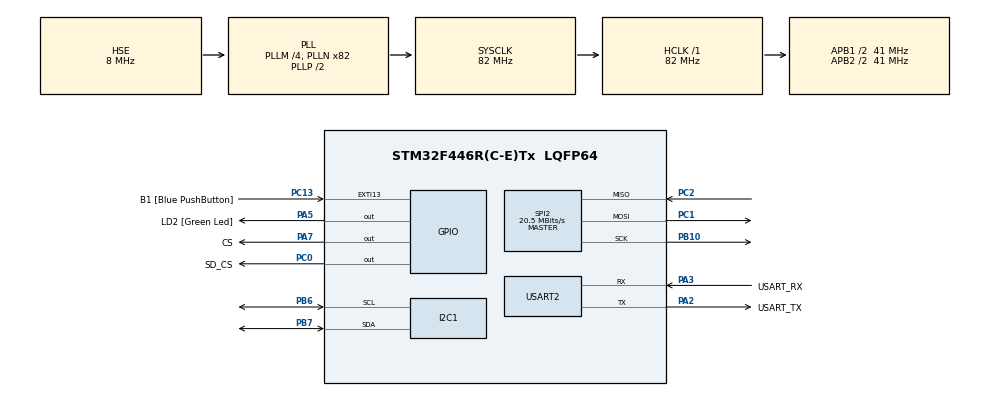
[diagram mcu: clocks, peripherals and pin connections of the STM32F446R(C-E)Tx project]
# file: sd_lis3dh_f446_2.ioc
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Mcu.Family=STM32F4
Mcu.Name=STM32F446R(C-E)Tx
Mcu.Package=LQFP64
NVIC.EXTI15_10_IRQn=true\:0\:0\:false\:false\:true\:true\:true
NVIC.FLASH_IRQn=true\:0\:0\:false\:false\:true\:true\:true
NVIC.PriorityGroup=NVIC_PRIORITYGROUP_0
PA13.GPIO_Label=TMS
PA13.Mode=Serial_Wire
PA13.Signal=SYS_JTMS-SWDIO
PA14.GPIO_Label=TCK
PA14.Mode=Serial_Wire
PA14.Signal=SYS_JTCK-SWCLK
PA2.GPIO_Label=USART_TX
PA2.Mode=Asynchronous
PA2.Signal=USART2_TX
PA3.GPIO_Label=USART_RX
PA3.Mode=Asynchronous
PA3.Signal=USART2_RX
PA5.GPIO_Label=LD2 [Green Led]
PA5.PinState=GPIO_PIN_RESET
PA5.Signal=GPIO_Output
PA7.GPIO_Label=CS
PA7.PinState=GPIO_PIN_SET
PA7.Signal=GPIO_Output
PB10.Mode=Full_Duplex_Master
PB10.Signal=SPI2_SCK
PB3.GPIO_Label=SWO
PB3.Signal=SYS_JTDO-SWO
PB6.Mode=I2C
PB6.Signal=I2C1_SCL
PB7.Mode=I2C
PB7.Signal=I2C1_SDA
PC0.GPIO_Label=SD_CS
PC0.PinState=GPIO_PIN_RESET
PC0.Signal=GPIO_Output
PC1.Mode=Full_Duplex_Master
PC1.Signal=SPI2_MOSI
PC13.GPIO_Label=B1 [Blue PushButton]
PC13.GPIO_ModeDefaultEXTI=GPIO_MODE_IT_RISING
PC13.Signal=GPXTI13
PC14-OSC32_IN.Mode=LSE-External-Oscillator
PC14-OSC32_IN.Signal=RCC_OSC32_IN
PC15-OSC32_OUT.Mode=LSE-External-Oscillator
PC15-OSC32_OUT.Signal=RCC_OSC32_OUT
PC2.Mode=Full_Duplex_Master
PC2.Signal=SPI2_MISO
PH0-OSC_IN.Mode=HSE-External-Oscillator
PH0-OSC_IN.Signal=RCC_OSC_IN
PH1-OSC_OUT.Mode=HSE-External-Oscillator
PH1-OSC_OUT.Signal=RCC_OSC_OUT
ProjectManager.HeapSize=0x200
ProjectManager.StackSize=0x400
ProjectManager.TargetToolchain=STM32CubeIDE
RCC.48MHZClocksFreq_Value=84000000
RCC.AHBFreq_Value=82000000
RCC.APB1CLKDivider=RCC_HCLK_DIV2
RCC.APB1Freq_Value=41000000
RCC.APB1TimFreq_Value=82000000
RCC.APB2CLKDivider=RCC_HCLK_DIV2
RCC.APB2Freq_Value=41000000
RCC.APB2TimFreq_Value=82000000
RCC.CortexFreq_Value=82000000
RCC.FLatency-AdvancedSettings=FLASH_LATENCY_2
RCC.HCLKFreq_Value=82000000
RCC.HSE_VALUE=8000000
RCC.HSI_VALUE=16000000
RCC.PLLM=4
RCC.PLLN=82
RCC.PLLQ=15
RCC.PLLSourceVirtual=RCC_PLLSOURCE_HSE
RCC.SYSCLKFreq_VALUE=82000000
RCC.SYSCLKSource=RCC_SYSCLKSOURCE_PLLCLK
RCC.USBFreq_Value=10933333.333333334
RCC.VCOOutputFreq_Value=164000000
RTC.AsynchPrediv=31
RTC.Hours=8
RTC.SynchPrediv=999
SPI2.BaudRatePrescaler=SPI_BAUDRATEPRESCALER_2
SPI2.CalculateBaudRate=20.5 MBits/s
SPI2.Direction=SPI_DIRECTION_2LINES
SPI2.Mode=SPI_MODE_MASTER
SPI2.VirtualType=VM_MASTER
USART2.VirtualMode=VM_ASYNC
VP_FATFS_VS_Generic.Mode=User_defined
VP_RTC_VS_RTC_Activate.Mode=RTC_Enabled
VP_RTC_VS_RTC_Calendar.Mode=RTC_Calendar
board=NUCLEO-F446RE

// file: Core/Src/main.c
/* USER CODE BEGIN Header */
/**
  ******************************************************************************
  * @file           : main.c
  * @brief          : Main program body
  ******************************************************************************
  * @attention
  *
  * <h2><center>&copy; Copyright (c) 2020 STMicroelectronics.
  * All rights reserved.</center></h2>
  *
  * This software component is licensed by ST under BSD 3-Clause license,
  * the "License"; You may not use this file except in compliance with the
  * License. You may obtain a copy of the License at:
  *                        opensource.org/licenses/BSD-3-Clause
  *
  ******************************************************************************
  */
/* USER CODE END Header */
#include "main.h"
#include "fatfs.h"

/* USER CODE BEGIN Includes */
#include "LIS3DH_reg.h"
#include <string.h>
#include <stdio.h>
#include <stdlib.h>
#include <stdarg.h>
#include <stdbool.h>
/* USER CODE END Includes */

/* USER CODE BEGIN PTD */
RTC_TimeTypeDef stimestructureget;
/* USER CODE END PTD */

/* USER CODE BEGIN PD */
#define SENSOR_BUS hi2c1

/* USER CODE END PD */

I2C_HandleTypeDef hi2c1;

RTC_HandleTypeDef hrtc;

SPI_HandleTypeDef hspi2;

UART_HandleTypeDef huart2;

/* USER CODE BEGIN PV */
char buffer[100];
static int16_t data_raw_acceleration[3];
static float acceleration_mg[3];
static uint8_t tx_buffer[1000];
int STATE = 0;
uint8_t ShowTime[50] = {0};
uint8_t ShowDate[50] = {0};
RTC_TimeTypeDef stimestructureget;
RTC_DateTypeDef sdatestructureget;
/* USER CODE END PV */

void SystemClock_Config(void);
static void MX_GPIO_Init(void);
static void MX_USART2_UART_Init(void);
static void MX_I2C1_Init(void);
static void MX_SPI2_Init(void);
static void MX_RTC_Init(void);
/* USER CODE BEGIN PFP */
void myprintf(const char *fmt, ...);
static int32_t platform_write(void *handle, uint8_t reg,uint8_t *bufp,uint16_t len);
static int32_t platform_read(void *handle, uint8_t reg, uint8_t *bufp,uint16_t len);
static void RTC_ShowMeTime(uint8_t *showtime, uint8_t *showdate);

/* USER CODE END PFP */

/* USER CODE BEGIN 0 */
void myprintf(const char *fmt, ...) {
  static char buffer[256];
  va_list args;
  va_start(args, fmt);
  vsnprintf(buffer, sizeof(buffer), fmt, args);
  va_end(args);

  int len = strlen(buffer);
  HAL_UART_Transmit(&huart2, (uint8_t*)buffer, len, -1);
}

FATFS FatFs; 	//Fatfs handle
FIL fil; 		//File handle
FRESULT fres; //Result after operations
UINT bytesWrote;

/* USER CODE END 0 */

int main(void)
{

  /* MCU Configuration--------------------------------------------------------*/

  /* Reset of all peripherals, Initializes the Flash interface and the Systick. */
  HAL_Init();

  /* Configure the system clock */
  SystemClock_Config();

  /* Initialize all configured peripherals */
  MX_GPIO_Init();
  MX_USART2_UART_Init();
  MX_I2C1_Init();
  MX_FATFS_Init();
  MX_SPI2_Init();
  MX_RTC_Init();
  /* USER CODE BEGIN 2 */

  /***** INIT ACCELEROMETRE *****/
  stmdev_ctx_t dev_ctx;
    lis3dh_reg_t reg;
    uint8_t j;
    /* Initialize mems driver interface */
    dev_ctx.write_reg = platform_write;
    dev_ctx.read_reg = platform_read;
    dev_ctx.handle = &SENSOR_BUS;
   /* Wait sensor boot time */
    HAL_Delay(5);
    /* Check device ID */
    lis3dh_device_id_get(&dev_ctx, &reg.byte);
    if (reg.byte != LIS3DH_ID) {
      while (reg.byte != LIS3DH_ID) {
  			myprintf("Error sensor\r\n");
  			HAL_Delay(1000);
        /* manage here device not found */
      }
    }
  	/* Enable Block Data Update. */
    lis3dh_block_data_update_set(&dev_ctx, PROPERTY_ENABLE);
    /* Set full scale to 2g. */
    lis3dh_full_scale_set(&dev_ctx, LIS3DH_4g);
    /* Set device in normal mode. */
    lis3dh_operating_mode_set(&dev_ctx, LIS3DH_NM_10bit);
    /* Set Output Data Rate to 1Hz. */
    lis3dh_data_rate_set(&dev_ctx, LIS3DH_ODR_5kHz376_LP_1kHz344_NM_HP);
    /* Wait stable output */
    HAL_Delay(90);

    /*****END INIT ACCELEROMETRE*****/

  myprintf("\r\n~ SD card demo by Theo & pilou ~\r\n\r\n");

    HAL_Delay(1000); //a short delay is important to let the SD card settle

    //some variables for FatFs

    //Open the file system
    fres = f_mount(&FatFs, "", 1); //1=mount now
    if (fres != FR_OK) {
  	myprintf("f_mount error (%i)\r\n", fres);
  	while(1);
    }

    //Let's get some statistics from the SD card
    DWORD free_clusters, free_sectors, total_sectors;

    FATFS* getFreeFs;

    fres = f_getfree("", &free_clusters, &getFreeFs);
    if (fres != FR_OK) {
  	while(1);
    }

    //Formula comes from ChaN's documentation
    total_sectors = (getFreeFs->n_fatent - 2) * getFreeFs->csize;
    free_sectors = free_clusters * getFreeFs->csize;

    myprintf("SD card stats:\r\n%10lu KiB total drive space.\r\n%10lu KiB available.\r\n", total_sectors / 2, free_sectors / 2);
  	myprintf("f_getfree error (%i)\r\n", fres);

    //Be a tidy kiwi - don't forget to close your file!
    if(fres == FR_OK) {
     	myprintf("fr ko ok!\r\n");
       } else {
     	myprintf("fr ko KO\r\n");
       }

    //Now let's try and write a file "write.txt"
    fres = f_open(&fil, "write.txt", FA_WRITE | FA_OPEN_ALWAYS);
    if(fres == FR_OK) {
  	myprintf("Now able to write on 'write.txt'\r\n");
  	fres = f_lseek(&fil,f_size(&fil));
  	fres = f_write(&fil, tx_buffer, 19, &bytesWrote);
    } else {
  	myprintf("f_open error (%i)\r\n", fres);
    }
    fres = f_close(&fil);
/*
    //Copy in a string
    strncpy((char*)tx_buffer, "a new file is made!", 19);
    fres = f_lseek(&fil,f_size(&fil));
    fres = f_write(&fil, tx_buffer, 19, &bytesWrote);
    if(fres == FR_OK) {
  	myprintf("Wrote %i bytes to 'write.txt'!\r\n", bytesWrote);
    } else {
  	myprintf("f_write error (%i)\r\n");
    }

    //Be a tidy kiwi - don't forget to close your file!
    HAL_Delay(100);
    f_close(&fil);
    HAL_Delay(100);
    //We're done, so de-mount the drive */

    /*****EXEMPLE*****/

  /* USER CODE END 2 */

  /* Infinite loop */
  /* USER CODE BEGIN WHILE */
    while (1)
    {
    	if(STATE == 1)
    	{
    	do {lis3dh_status_get(&dev_ctx, &reg.status_reg);
    	        } while (!reg.status_reg.zyxda);

    	   /* Read dummy data and discard it */
    	       	        	  lis3dh_acceleration_raw_get(&dev_ctx, data_raw_acceleration);
    	       	        /* Read 5 sample and get the average vale for each axis */
    	       	        	memset(acceleration_mg, 0x00, 3 * sizeof(float));

    	        	    /* Read data and accumulate the mg value */
    	        	    lis3dh_acceleration_raw_get(&dev_ctx, data_raw_acceleration);

    	        	    for (j = 0; j < 3; j++) {
    	        	      acceleration_mg[j] += lis3dh_from_fs4_nm_to_mg(data_raw_acceleration[j]);
    	        	    						}
    	        	    HAL_RTC_GetTime(&hrtc, &stimestructureget, RTC_FORMAT_BIN);
    	        		RTC_ShowMeTime(ShowTime, ShowDate );
    	        		sprintf((char *)tx_buffer, "%s : %4.0f;%4.0f;%4.0f \r\n",ShowTime, acceleration_mg[0],acceleration_mg[1],acceleration_mg[2]);
    	        		fres = f_lseek(&fil,f_size(&fil));
    	        		fres = f_write(&fil, tx_buffer, strlen((char const *)tx_buffer), &bytesWrote);

    	}
    	else if(STATE == 0)
    	{
    		HAL_GPIO_TogglePin(LD2_GPIO_Port,LD2_Pin);
    		HAL_Delay(500);
    		HAL_GPIO_TogglePin(LD2_GPIO_Port,LD2_Pin);
    		HAL_Delay(500);
    		HAL_GPIO_TogglePin(LD2_GPIO_Port,LD2_Pin);
    		HAL_Delay(500);
    	}
    	else if(STATE == 2)
    	{
    		STATE=0;
    		fres = f_close(&fil);
    	}
    	  /* Wait stable output */

    /* USER CODE END WHILE */

    }
}

void SystemClock_Config(void)
{
  RCC_OscInitTypeDef RCC_OscInitStruct = {0};
  RCC_ClkInitTypeDef RCC_ClkInitStruct = {0};
  RCC_PeriphCLKInitTypeDef PeriphClkInitStruct = {0};

  /** Configure the main internal regulator output voltage
  */
  __HAL_RCC_PWR_CLK_ENABLE();
  __HAL_PWR_VOLTAGESCALING_CONFIG(PWR_REGULATOR_VOLTAGE_SCALE3);
  /** Initializes the RCC Oscillators according to the specified parameters
  * in the RCC_OscInitTypeDef structure.
  */
  RCC_OscInitStruct.OscillatorType = RCC_OSCILLATORTYPE_LSI|RCC_OSCILLATORTYPE_HSE;
  RCC_OscInitStruct.HSEState = RCC_HSE_ON;
  RCC_OscInitStruct.LSEState = RCC_LSE_ON;
  RCC_OscInitStruct.LSIState = RCC_LSI_ON;
  RCC_OscInitStruct.PLL.PLLState = RCC_PLL_ON;
  RCC_OscInitStruct.PLL.PLLSource = RCC_PLLSOURCE_HSE;
  RCC_OscInitStruct.PLL.PLLM = 4;
  RCC_OscInitStruct.PLL.PLLN = 82;
  RCC_OscInitStruct.PLL.PLLP = RCC_PLLP_DIV2;
  RCC_OscInitStruct.PLL.PLLQ = 15;
  RCC_OscInitStruct.PLL.PLLR = 2;
  if (HAL_RCC_OscConfig(&RCC_OscInitStruct) != HAL_OK)
  {
    Error_Handler();
  }
  /** Initializes the CPU, AHB and APB buses clocks
  */
  RCC_ClkInitStruct.ClockType = RCC_CLOCKTYPE_HCLK|RCC_CLOCKTYPE_SYSCLK
                              |RCC_CLOCKTYPE_PCLK1|RCC_CLOCKTYPE_PCLK2;
  RCC_ClkInitStruct.SYSCLKSource = RCC_SYSCLKSOURCE_PLLCLK;
  RCC_ClkInitStruct.AHBCLKDivider = RCC_SYSCLK_DIV1;
  RCC_ClkInitStruct.APB1CLKDivider = RCC_HCLK_DIV2;
  RCC_ClkInitStruct.APB2CLKDivider = RCC_HCLK_DIV2;

  if (HAL_RCC_ClockConfig(&RCC_ClkInitStruct, FLASH_LATENCY_2) != HAL_OK)
  {
    Error_Handler();
  }
  PeriphClkInitStruct.PeriphClockSelection = RCC_PERIPHCLK_RTC;
  PeriphClkInitStruct.RTCClockSelection = RCC_RTCCLKSOURCE_LSI;
  if (HAL_RCCEx_PeriphCLKConfig(&PeriphClkInitStruct) != HAL_OK)
  {
    Error_Handler();
  }
}

static void MX_I2C1_Init(void)
{

  hi2c1.Instance = I2C1;
  hi2c1.Init.ClockSpeed = 100000;
  hi2c1.Init.DutyCycle = I2C_DUTYCYCLE_2;
  hi2c1.Init.OwnAddress1 = 0;
  hi2c1.Init.AddressingMode = I2C_ADDRESSINGMODE_7BIT;
  hi2c1.Init.DualAddressMode = I2C_DUALADDRESS_DISABLE;
  hi2c1.Init.OwnAddress2 = 0;
  hi2c1.Init.GeneralCallMode = I2C_GENERALCALL_DISABLE;
  hi2c1.Init.NoStretchMode = I2C_NOSTRETCH_DISABLE;
  if (HAL_I2C_Init(&hi2c1) != HAL_OK)
  {
    Error_Handler();
  }

}

static void MX_RTC_Init(void)
{

  RTC_TimeTypeDef sTime = {0};
  RTC_DateTypeDef sDate = {0};

  /** Initialize RTC Only
  */
  hrtc.Instance = RTC;
  hrtc.Init.HourFormat = RTC_HOURFORMAT_24;
  hrtc.Init.AsynchPrediv = 31;
  hrtc.Init.SynchPrediv = 999;
  hrtc.Init.OutPut = RTC_OUTPUT_DISABLE;
  hrtc.Init.OutPutPolarity = RTC_OUTPUT_POLARITY_HIGH;
  hrtc.Init.OutPutType = RTC_OUTPUT_TYPE_OPENDRAIN;
  if (HAL_RTC_Init(&hrtc) != HAL_OK)
  {
    Error_Handler();
  }

  /* USER CODE BEGIN Check_RTC_BKUP */
  HAL_RTCEx_BKUPWrite(&hrtc, RTC_BKP_DR1, 0x32F2);
  /* USER CODE END Check_RTC_BKUP */

  /** Initialize RTC and set the Time and Date
  */
  sTime.Hours = 0x8;
  sTime.Minutes = 0x0;
  sTime.Seconds = 0x0;
  sTime.DayLightSaving = RTC_DAYLIGHTSAVING_NONE;
  sTime.StoreOperation = RTC_STOREOPERATION_RESET;
  if (HAL_RTC_SetTime(&hrtc, &sTime, RTC_FORMAT_BCD) != HAL_OK)
  {
    Error_Handler();
  }
  sDate.WeekDay = RTC_WEEKDAY_MONDAY;
  sDate.Month = RTC_MONTH_JANUARY;
  sDate.Date = 0x1;
  sDate.Year = 0x0;

  if (HAL_RTC_SetDate(&hrtc, &sDate, RTC_FORMAT_BCD) != HAL_OK)
  {
    Error_Handler();
  }

}

static void MX_SPI2_Init(void)
{

  /* SPI2 parameter configuration*/
  hspi2.Instance = SPI2;
  hspi2.Init.Mode = SPI_MODE_MASTER;
  hspi2.Init.Direction = SPI_DIRECTION_2LINES;
  hspi2.Init.DataSize = SPI_DATASIZE_8BIT;
  hspi2.Init.CLKPolarity = SPI_POLARITY_LOW;
  hspi2.Init.CLKPhase = SPI_PHASE_1EDGE;
  hspi2.Init.NSS = SPI_NSS_SOFT;
  hspi2.Init.BaudRatePrescaler = SPI_BAUDRATEPRESCALER_2;
  hspi2.Init.FirstBit = SPI_FIRSTBIT_MSB;
  hspi2.Init.TIMode = SPI_TIMODE_DISABLE;
  hspi2.Init.CRCCalculation = SPI_CRCCALCULATION_DISABLE;
  hspi2.Init.CRCPolynomial = 10;
  if (HAL_SPI_Init(&hspi2) != HAL_OK)
  {
    Error_Handler();
  }

}

static void MX_USART2_UART_Init(void)
{

  huart2.Instance = USART2;
  huart2.Init.BaudRate = 115200;
  huart2.Init.WordLength = UART_WORDLENGTH_8B;
  huart2.Init.StopBits = UART_STOPBITS_1;
  huart2.Init.Parity = UART_PARITY_NONE;
  huart2.Init.Mode = UART_MODE_TX_RX;
  huart2.Init.HwFlowCtl = UART_HWCONTROL_NONE;
  huart2.Init.OverSampling = UART_OVERSAMPLING_16;
  if (HAL_UART_Init(&huart2) != HAL_OK)
  {
    Error_Handler();
  }

}

static void MX_GPIO_Init(void)
{
  GPIO_InitTypeDef GPIO_InitStruct = {0};

  /* GPIO Ports Clock Enable */
  __HAL_RCC_GPIOC_CLK_ENABLE();
  __HAL_RCC_GPIOH_CLK_ENABLE();
  __HAL_RCC_GPIOA_CLK_ENABLE();
  __HAL_RCC_GPIOB_CLK_ENABLE();

  /*Configure GPIO pin Output Level */
  HAL_GPIO_WritePin(SD_CS_GPIO_Port, SD_CS_Pin, GPIO_PIN_RESET);

  /*Configure GPIO pin Output Level */
  HAL_GPIO_WritePin(LD2_GPIO_Port, LD2_Pin, GPIO_PIN_RESET);

  /*Configure GPIO pin Output Level */
  HAL_GPIO_WritePin(CS_GPIO_Port, CS_Pin, GPIO_PIN_SET);

  /*Configure GPIO pin : B1_Pin */
  GPIO_InitStruct.Pin = B1_Pin;
  GPIO_InitStruct.Mode = GPIO_MODE_IT_RISING;
  GPIO_InitStruct.Pull = GPIO_NOPULL;
  HAL_GPIO_Init(B1_GPIO_Port, &GPIO_InitStruct);

  /*Configure GPIO pin : SD_CS_Pin */
  GPIO_InitStruct.Pin = SD_CS_Pin;
  GPIO_InitStruct.Mode = GPIO_MODE_OUTPUT_PP;
  GPIO_InitStruct.Pull = GPIO_NOPULL;
  GPIO_InitStruct.Speed = GPIO_SPEED_FREQ_LOW;
  HAL_GPIO_Init(SD_CS_GPIO_Port, &GPIO_InitStruct);

  /*Configure GPIO pins : LD2_Pin CS_Pin */
  GPIO_InitStruct.Pin = LD2_Pin|CS_Pin;
  GPIO_InitStruct.Mode = GPIO_MODE_OUTPUT_PP;
  GPIO_InitStruct.Pull = GPIO_NOPULL;
  GPIO_InitStruct.Speed = GPIO_SPEED_FREQ_LOW;
  HAL_GPIO_Init(GPIOA, &GPIO_InitStruct);

  /* EXTI interrupt init*/
  HAL_NVIC_SetPriority(EXTI15_10_IRQn, 0, 0);
  HAL_NVIC_EnableIRQ(EXTI15_10_IRQn);

}

/* USER CODE BEGIN 4 */
static int32_t platform_write(void *handle, uint8_t reg, uint8_t *bufp, uint16_t len)
{
  /* Write multiple command */
  reg |= 0x80;
  HAL_I2C_Mem_Write(handle, LIS3DH_I2C_ADD_L, reg, I2C_MEMADD_SIZE_8BIT, bufp, len, 1000);
  return 0;
}

/*
 * @brief  Read generic device register (platform dependent)
 *
 * @param  handle    customizable argument. In this examples is used in
 *                   order to select the correct sensor bus handler.
 * @param  reg       register to read
 * @param  bufp      pointer to buffer that store the data read
 * @param  len       number of consecutive register to read
 *
 */
static int32_t platform_read(void *handle, uint8_t reg, uint8_t *bufp, uint16_t len)
{
  /* Read multiple command */
  reg |= 0x80;
  HAL_I2C_Mem_Read(handle, LIS3DH_I2C_ADD_L, reg, I2C_MEMADD_SIZE_8BIT, bufp, len, 1000);

  return 0;
}

void HAL_GPIO_EXTI_Callback(uint16_t GPIO_Pin)
{

		switch (STATE) {
						case 1 :

							//Mettre un delai sur le switch-case fait planter le programme
							STATE = 2;
							HAL_GPIO_WritePin(LD2_GPIO_Port,LD2_Pin,GPIO_PIN_RESET);
							break;

						case 0 :
							STATE = 1;
							fres = f_open(&fil, "write.txt",FA_WRITE | FA_OPEN_ALWAYS);
							HAL_GPIO_WritePin(LD2_GPIO_Port,LD2_Pin,GPIO_PIN_SET);
							break;

		}
}

static void RTC_ShowMeTime(uint8_t *showtime, uint8_t *showdate)
{

  /* Get the RTC current Time */
  HAL_RTC_GetTime(&hrtc, &stimestructureget, RTC_FORMAT_BIN);
  HAL_RTC_GetDate(&hrtc, &sdatestructureget, RTC_FORMAT_BIN);

  /* Display time Format: hh:mm:ss */
  sprintf((char*)showtime,"%02d:%02d:%02lu", stimestructureget.Minutes, stimestructureget.Seconds,1000-stimestructureget.SubSeconds);
}
/* USER CODE END 4 */

void Error_Handler(void)
{
}

/************************ (C) COPYRIGHT STMicroelectronics *****END OF FILE****/
